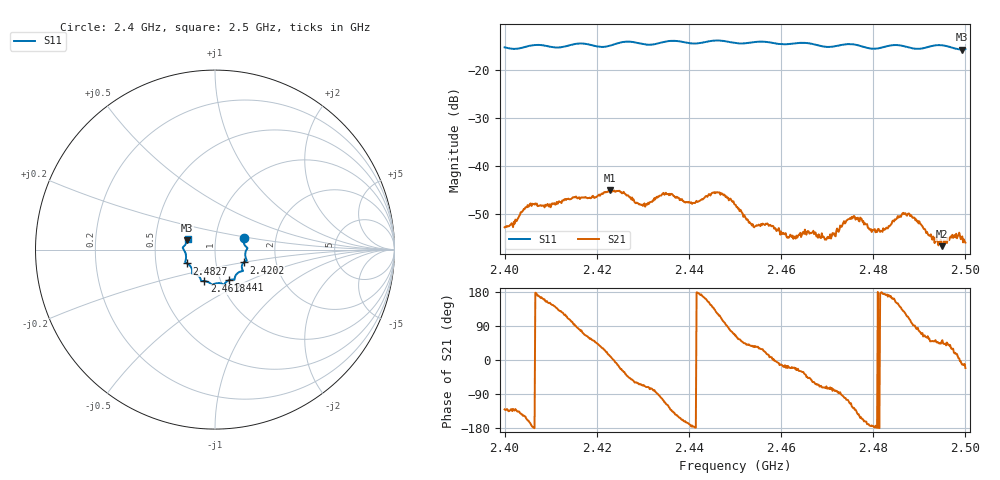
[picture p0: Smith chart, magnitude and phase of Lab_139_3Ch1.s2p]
# Hz S RI R 50
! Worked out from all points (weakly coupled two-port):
!   601 points, 2.4 GHz to 2.5 GHz, reference 50 ohm
!   highest |S21| = -45.18 dB at 2.4228 GHz (marker M1); lowest = -56.8 dB at 2.4948 GHz (marker M2)
!   lowest |S11| = -15.8 dB at 2.4993 GHz (marker M3), VSWR 1.39, Z = 36.5 + j3.82 ohm
!   |S11| at or under -10 dB: start of sweep to end of sweep
!   S12 and S22 are empty: the file has one direction only
!   S11 on the Smith chart (normalised r, x): 2.4 GHz: 1.36, +0.18; 2.4202 GHz: 1.36, -0.20; 2.441 GHz: 1.10, -0.39; 2.4618 GHz: 0.84, -0.31; 2.4827 GHz: 0.72, -0.11; 2.5 GHz: 0.73, +0.09
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2.4e9  0.1588 0.0629  -0.00147 -0.00173  0 0  0 0
2.4055e9  0.1771 0.0121  -0.00385 -0.000996  0 0  0 0
2.416667e9  0.1773 -0.0609  0.000948 0.00456  0 0  0 0
2.420167e9  0.159 -0.0718  0.00354 0.00328  0 0  0 0
2.422833e9  0.1494 -0.096  0.00542 0.001  0 0  0 0
2.43e9  0.1366 -0.1244  0.00147 -0.0035  0 0  0 0
2.433333e9  0.1119 -0.1509  -7.44e-05 -0.00477  0 0  0 0
2.441e9  0.0787 -0.1696  -0.00407 -0.000316  0 0  0 0
2.446e9  0.0498 -0.1951  -0.00302 0.00428  0 0  0 0
2.45e9  0.0286 -0.1874  0.00169 0.00354  0 0  0 0
2.453833e9  -0.00638 -0.1927  0.002 0.00142  0 0  0 0
2.461833e9  -0.059 -0.1758  0.0017 -0.000623  0 0  0 0
2.466667e9  -0.0789 -0.1684  0.00116 -0.00161  0 0  0 0
2.47e9  -0.095 -0.144  0.000436 -0.00173  0 0  0 0
2.4755e9  -0.1276 -0.1326  -0.00159 -0.00232  0 0  0 0
2.4795e9  -0.132 -0.1002  -0.00216 -0.000216  0 0  0 0
2.482667e9  -0.156 -0.0771  -0.00216 0.000315  0 0  0 0
2.483333e9  -0.1603 -0.0751  -0.00231 0.000351  0 0  0 0
2.487333e9  -0.1629 -0.0569  -0.00127 0.00272  0 0  0 0
2.494833e9  -0.1793 0.012  0.000955 0.00108  0 0  0 0
2.499333e9  -0.1539 0.0509  0.00178 -0.000388  0 0  0 0
2.5e9  -0.1522 0.0602  0.00147 -0.000565  0 0  0 0
